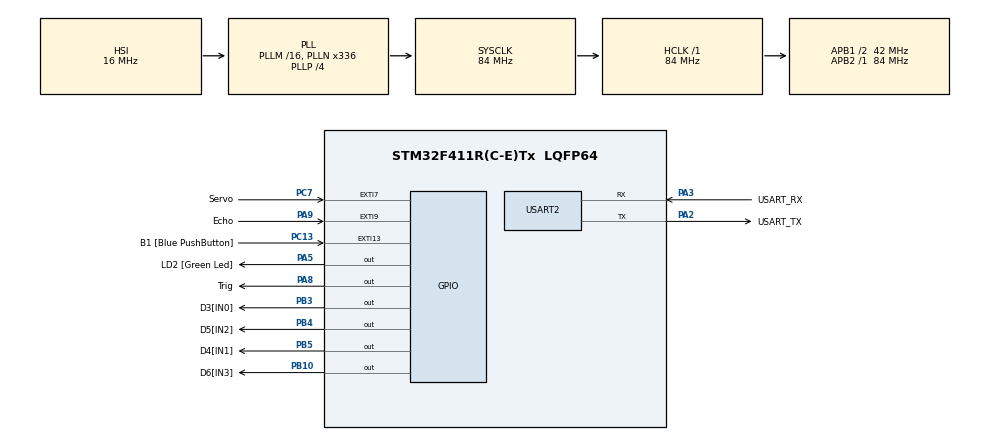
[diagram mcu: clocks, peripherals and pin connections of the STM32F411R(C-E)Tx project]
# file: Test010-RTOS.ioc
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FREERTOS.BinarySemaphores01=myBinarySem01,Dynamic,NULL
FREERTOS.Tasks01=myTask01,0,128,myStartTask01,Default,NULL,Dynamic,NULL,NULL;myTask02,-1,128,myStartTask02,Default,NULL,Dynamic,NULL,NULL;myTask03,-2,128,StartTask03,Default,NULL,Dynamic,NULL,NULL;myTask04,-3,128,StartTask04,Default,NULL,Dynamic,NULL,NULL
FREERTOS.configUSE_NEWLIB_REENTRANT=1
Mcu.Family=STM32F4
Mcu.Name=STM32F411R(C-E)Tx
Mcu.Package=LQFP64
NVIC.EXTI15_10_IRQn=true\:5\:0\:false\:false\:true\:true\:true\:true\:true
NVIC.EXTI9_5_IRQn=true\:5\:0\:false\:false\:true\:true\:true\:true\:true
NVIC.PriorityGroup=NVIC_PRIORITYGROUP_4
NVIC.TIM1_UP_TIM10_IRQn=true\:5\:0\:false\:false\:true\:true\:false\:true\:true
NVIC.TimeBase=TIM1_UP_TIM10_IRQn
NVIC.TimeBaseIP=TIM10
PA13.GPIO_Label=TMS
PA13.Mode=Serial_Wire
PA13.Signal=SYS_JTMS-SWDIO
PA14.GPIO_Label=TCK
PA14.Mode=Serial_Wire
PA14.Signal=SYS_JTCK-SWCLK
PA2.GPIO_Label=USART_TX
PA2.Mode=Asynchronous
PA2.Signal=USART2_TX
PA3.GPIO_Label=USART_RX
PA3.Mode=Asynchronous
PA3.Signal=USART2_RX
PA5.GPIO_Label=LD2 [Green Led]
PA5.Signal=GPIO_Output
PA8.GPIO_Label=Trig
PA8.Signal=GPIO_Output
PA9.GPIO_Label=Echo
PA9.GPIO_ModeDefaultEXTI=GPIO_MODE_IT_RISING_FALLING
PA9.Signal=GPXTI9
PB10.GPIO_Label=D6[IN3]
PB10.Signal=GPIO_Output
PB3.GPIO_Label=D3[IN0]
PB3.Signal=GPIO_Output
PB4.GPIO_Label=D5[IN2]
PB4.Signal=GPIO_Output
PB5.GPIO_Label=D4[IN1]
PB5.Signal=GPIO_Output
PC13-ANTI_TAMP.GPIO_Label=B1 [Blue PushButton]
PC13-ANTI_TAMP.GPIO_ModeDefaultEXTI=GPIO_MODE_IT_FALLING
PC13-ANTI_TAMP.Signal=GPXTI13
PC14-OSC32_IN.Mode=LSE-External-Oscillator
PC14-OSC32_IN.Signal=RCC_OSC32_IN
PC15-OSC32_OUT.Mode=LSE-External-Oscillator
PC15-OSC32_OUT.Signal=RCC_OSC32_OUT
PC7.GPIO_Label=Servo
PC7.Signal=GPXTI7
PH0\ -\ OSC_IN.Mode=HSE-External-Clock-Source
PH0\ -\ OSC_IN.Signal=RCC_OSC_IN
PH1\ -\ OSC_OUT.Mode=HSE-External-Clock-Source
PH1\ -\ OSC_OUT.Signal=RCC_OSC_OUT
ProjectManager.HeapSize=0x200
ProjectManager.StackSize=0x400
ProjectManager.TargetToolchain=STM32CubeIDE
RCC.48MHZClocksFreq_Value=84000000
RCC.AHBFreq_Value=84000000
RCC.APB1CLKDivider=RCC_HCLK_DIV2
RCC.APB1Freq_Value=42000000
RCC.APB1TimFreq_Value=84000000
RCC.APB2Freq_Value=84000000
RCC.APB2TimFreq_Value=84000000
RCC.CortexFreq_Value=84000000
RCC.FLatency-AdvancedSettings=FLASH_LATENCY_2
RCC.HCLKFreq_Value=84000000
RCC.HSE_VALUE=8000000
RCC.HSI_VALUE=16000000
RCC.PLLN=336
RCC.PLLP=RCC_PLLP_DIV4
RCC.SYSCLKFreq_VALUE=84000000
RCC.SYSCLKSource=RCC_SYSCLKSOURCE_PLLCLK
RCC.VCOOutputFreq_Value=336000000
TIM1.Period=60000-1
TIM1.Prescaler=84-1
TIM2.Prescaler=84-1
USART2.VirtualMode=VM_ASYNC
VP_FREERTOS_VS_CMSIS_V1.Mode=CMSIS_V1
VP_SYS_VS_tim10.Mode=TIM10
VP_TIM1_VS_ClockSourceINT.Mode=Internal
VP_TIM2_VS_ClockSourceINT.Mode=Internal
board=NUCLEO-F411RE

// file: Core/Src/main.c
/* USER CODE BEGIN Header */
/**
  ******************************************************************************
  * @file           : main.c
  * @brief          : Main program body
  ******************************************************************************
  * @attention
  *
  * Copyright (c) 2025 STMicroelectronics.
  * All rights reserved.
  *
  * This software is licensed under terms that can be found in the LICENSE file
  * in the root directory of this software component.
  * If no LICENSE file comes with this software, it is provided AS-IS.
  *
  ******************************************************************************
  */
/* USER CODE END Header */
#include "main.h"
#include "cmsis_os.h"

TIM_HandleTypeDef htim1;
TIM_HandleTypeDef htim2;

UART_HandleTypeDef huart2;

osThreadId myTask01Handle;
osThreadId myTask02Handle;
osThreadId myTask03Handle;
osThreadId myTask04Handle;
osSemaphoreId myBinarySem01Handle;

void SystemClock_Config(void);
static void MX_GPIO_Init(void);
static void MX_USART2_UART_Init(void);
static void MX_TIM1_Init(void);
static void MX_TIM2_Init(void);
void myStartTask01(void const * argument);
void myStartTask02(void const * argument);
void StartTask03(void const * argument);
void StartTask04(void const * argument);

/* USER CODE BEGIN 0 */

int bn =0 ; mode =0;//mode : 1 button pressed 0 release
void LD2Test()
{
	HAL_GPIO_TogglePin(LD2_GPIO_Port, LD2_Pin);
}

int t1 = 0, t2 = 0;
volatile double dist = 0;
void HAL_GPIO_EXTI_Callback(uint16_t GPIO_Pin)
{
   if(GPIO_Pin == Echo_Pin)
   {
      if(HAL_GPIO_ReadPin(Echo_GPIO_Port, Echo_Pin) == 1) // rising
      {
         t1 = htim2.Instance->CNT;
      }
      else // falling
      {
         t2 = htim2.Instance->CNT;
         dist = (t2 - t1) * 0.17;
      }
   }
   osSemaphoreRelease(myBinarySem01Handle);
}

void step_half(int step)
{
		switch(step)
		{
		case 1:

			//step 1
			HAL_GPIO_WritePin(D3_GPIO_Port, D3_Pin, 1);
			HAL_GPIO_WritePin(D4_GPIO_Port, D4_Pin, 0);
			HAL_GPIO_WritePin(D5_GPIO_Port, D5_Pin, 0);
			HAL_GPIO_WritePin(D6_GPIO_Port, D6_Pin, 0);
			break;//instead delay

		case 2:
			//step 2
			HAL_GPIO_WritePin(D3_GPIO_Port, D3_Pin, 1);
			HAL_GPIO_WritePin(D4_GPIO_Port, D4_Pin, 1);
			HAL_GPIO_WritePin(D5_GPIO_Port, D5_Pin, 0);
			HAL_GPIO_WritePin(D6_GPIO_Port, D6_Pin, 0);
			break;//instead delay

		case 3:
			//step 3
			HAL_GPIO_WritePin(D3_GPIO_Port, D3_Pin, 0);
			HAL_GPIO_WritePin(D4_GPIO_Port, D4_Pin, 1);
			HAL_GPIO_WritePin(D5_GPIO_Port, D5_Pin, 0);
			HAL_GPIO_WritePin(D6_GPIO_Port, D6_Pin, 0);
			break;//instead delay

		case 4:
			//step 4
			HAL_GPIO_WritePin(D3_GPIO_Port, D3_Pin, 0);
			HAL_GPIO_WritePin(D4_GPIO_Port, D4_Pin, 1);
			HAL_GPIO_WritePin(D5_GPIO_Port, D5_Pin, 1);
			HAL_GPIO_WritePin(D6_GPIO_Port, D6_Pin, 0);
			break;//instead delay

		case 5:
			//step 5
			HAL_GPIO_WritePin(D3_GPIO_Port, D3_Pin, 0);
			HAL_GPIO_WritePin(D4_GPIO_Port, D4_Pin, 0);
			HAL_GPIO_WritePin(D5_GPIO_Port, D5_Pin, 1);
			HAL_GPIO_WritePin(D6_GPIO_Port, D6_Pin, 0);
			break;//instead delay

		case 6:
			//step 6
			HAL_GPIO_WritePin(D3_GPIO_Port, D3_Pin, 0);
			HAL_GPIO_WritePin(D4_GPIO_Port, D4_Pin, 0);
			HAL_GPIO_WritePin(D5_GPIO_Port, D5_Pin, 1);
			HAL_GPIO_WritePin(D6_GPIO_Port, D6_Pin, 1);
			break;//instead delay
		case 7:
			//step 7
			HAL_GPIO_WritePin(D3_GPIO_Port, D3_Pin, 0);
			HAL_GPIO_WritePin(D4_GPIO_Port, D4_Pin, 0);
			HAL_GPIO_WritePin(D5_GPIO_Port, D5_Pin, 0);
			HAL_GPIO_WritePin(D6_GPIO_Port, D6_Pin, 1);
			break;//instead delay
		case 8:
			//step 8
			HAL_GPIO_WritePin(D3_GPIO_Port, D3_Pin, 1);
			HAL_GPIO_WritePin(D4_GPIO_Port, D4_Pin, 0);
			HAL_GPIO_WritePin(D5_GPIO_Port, D5_Pin, 0);
			HAL_GPIO_WritePin(D6_GPIO_Port, D6_Pin, 1);
			break;//instead delay

		}
}

void step_full(int step)
{
		switch(step)
		{
		case 1:

			//step 1
			HAL_GPIO_WritePin(D3_GPIO_Port, D3_Pin, 1);
			HAL_GPIO_WritePin(D4_GPIO_Port, D4_Pin, 1);
			HAL_GPIO_WritePin(D5_GPIO_Port, D5_Pin, 0);
			HAL_GPIO_WritePin(D6_GPIO_Port, D6_Pin, 0);
			break;//instead delay

		case 2:
			//step 2
			HAL_GPIO_WritePin(D3_GPIO_Port, D3_Pin, 0);
			HAL_GPIO_WritePin(D4_GPIO_Port, D4_Pin, 1);
			HAL_GPIO_WritePin(D5_GPIO_Port, D5_Pin, 1);
			HAL_GPIO_WritePin(D6_GPIO_Port, D6_Pin, 0);
			break;//instead delay

		case 3:
			//step 3
			HAL_GPIO_WritePin(D3_GPIO_Port, D3_Pin, 0);
			HAL_GPIO_WritePin(D4_GPIO_Port, D4_Pin, 0);
			HAL_GPIO_WritePin(D5_GPIO_Port, D5_Pin, 1);
			HAL_GPIO_WritePin(D6_GPIO_Port, D6_Pin, 1);
			break;//instead delay

		case 4:
			//step 4
			HAL_GPIO_WritePin(D3_GPIO_Port, D3_Pin, 1);
			HAL_GPIO_WritePin(D4_GPIO_Port, D4_Pin, 0);
			HAL_GPIO_WritePin(D5_GPIO_Port, D5_Pin, 0);
			HAL_GPIO_WritePin(D6_GPIO_Port, D6_Pin, 1);
			break;//instead delay
		}
}

void step_wave(int step)
{
		switch(step)
		{
		case 1:

			//step 1
			HAL_GPIO_WritePin(D3_GPIO_Port, D3_Pin, 1);
			HAL_GPIO_WritePin(D4_GPIO_Port, D4_Pin, 0);
			HAL_GPIO_WritePin(D5_GPIO_Port, D5_Pin, 0);
			HAL_GPIO_WritePin(D6_GPIO_Port, D6_Pin, 0);
			break;//instead delay

		case 2:
			//step 2
			HAL_GPIO_WritePin(D3_GPIO_Port, D3_Pin, 0);
			HAL_GPIO_WritePin(D4_GPIO_Port, D4_Pin, 1);
			HAL_GPIO_WritePin(D5_GPIO_Port, D5_Pin, 0);
			HAL_GPIO_WritePin(D6_GPIO_Port, D6_Pin, 0);
			break;//instead delay

		case 3:
			//step 3
			HAL_GPIO_WritePin(D3_GPIO_Port, D3_Pin, 0);
			HAL_GPIO_WritePin(D4_GPIO_Port, D4_Pin, 0);
			HAL_GPIO_WritePin(D5_GPIO_Port, D5_Pin, 1);
			HAL_GPIO_WritePin(D6_GPIO_Port, D6_Pin, 0);
			break;//instead delay

		case 4:
			//step 4
			HAL_GPIO_WritePin(D3_GPIO_Port, D3_Pin, 0);
			HAL_GPIO_WritePin(D4_GPIO_Port, D4_Pin, 0);
			HAL_GPIO_WritePin(D5_GPIO_Port, D5_Pin, 0);
			HAL_GPIO_WritePin(D6_GPIO_Port, D6_Pin, 1);
			break;//instead delay
		}
}
/* USER CODE END 0 */

int main(void)
{

  /* MCU Configuration--------------------------------------------------------*/

  /* Reset of all peripherals, Initializes the Flash interface and the Systick. */
  HAL_Init();

  /* Configure the system clock */
  SystemClock_Config();

  /* Initialize all configured peripherals */
  MX_GPIO_Init();
  MX_USART2_UART_Init();
  MX_TIM1_Init();
  MX_TIM2_Init();
  /* USER CODE BEGIN 2 */
  HAL_TIM_Base_Start(&htim2);

  /* USER CODE END 2 */

  /* Create the semaphores(s) */
  /* definition and creation of myBinarySem01 */
  osSemaphoreDef(myBinarySem01);
  myBinarySem01Handle = osSemaphoreCreate(osSemaphore(myBinarySem01), 1);

  /* Create the thread(s) */
  /* definition and creation of myTask01 */
  osThreadDef(myTask01, myStartTask01, osPriorityNormal, 0, 128);
  myTask01Handle = osThreadCreate(osThread(myTask01), NULL);

  /* definition and creation of myTask02 */
  osThreadDef(myTask02, myStartTask02, osPriorityBelowNormal, 0, 128);
  myTask02Handle = osThreadCreate(osThread(myTask02), NULL);

  /* definition and creation of myTask03 */
  osThreadDef(myTask03, StartTask03, osPriorityLow, 0, 128);
  myTask03Handle = osThreadCreate(osThread(myTask03), NULL);

  /* definition and creation of myTask04 */
  osThreadDef(myTask04, StartTask04, osPriorityIdle, 0, 128);
  myTask04Handle = osThreadCreate(osThread(myTask04), NULL);

  /* USER CODE BEGIN RTOS_THREADS */
  /* add threads, ... */
  ProgramStart("RTOS-Start");
  osSemaphoreRelease(myBinarySem01Handle);
  /* USER CODE END RTOS_THREADS */

  /* Start scheduler */
  osKernelStart();

  /* We should never get here as control is now taken by the scheduler */
  /* Infinite loop */
  /* USER CODE BEGIN WHILE */
  while (1)
  {
	  LD2Test();
	  //osDelay(500);
	  //HAL_Delay(500);
    /* USER CODE END WHILE */

  }
}

void SystemClock_Config(void)
{
  RCC_OscInitTypeDef RCC_OscInitStruct = {0};
  RCC_ClkInitTypeDef RCC_ClkInitStruct = {0};

  /** Configure the main internal regulator output voltage
  */
  __HAL_RCC_PWR_CLK_ENABLE();
  __HAL_PWR_VOLTAGESCALING_CONFIG(PWR_REGULATOR_VOLTAGE_SCALE1);

  /** Initializes the RCC Oscillators according to the specified parameters
  * in the RCC_OscInitTypeDef structure.
  */
  RCC_OscInitStruct.OscillatorType = RCC_OSCILLATORTYPE_HSI;
  RCC_OscInitStruct.HSIState = RCC_HSI_ON;
  RCC_OscInitStruct.HSICalibrationValue = RCC_HSICALIBRATION_DEFAULT;
  RCC_OscInitStruct.PLL.PLLState = RCC_PLL_ON;
  RCC_OscInitStruct.PLL.PLLSource = RCC_PLLSOURCE_HSI;
  RCC_OscInitStruct.PLL.PLLM = 16;
  RCC_OscInitStruct.PLL.PLLN = 336;
  RCC_OscInitStruct.PLL.PLLP = RCC_PLLP_DIV4;
  RCC_OscInitStruct.PLL.PLLQ = 4;
  if (HAL_RCC_OscConfig(&RCC_OscInitStruct) != HAL_OK)
  {
    Error_Handler();
  }

  /** Initializes the CPU, AHB and APB buses clocks
  */
  RCC_ClkInitStruct.ClockType = RCC_CLOCKTYPE_HCLK|RCC_CLOCKTYPE_SYSCLK
                              |RCC_CLOCKTYPE_PCLK1|RCC_CLOCKTYPE_PCLK2;
  RCC_ClkInitStruct.SYSCLKSource = RCC_SYSCLKSOURCE_PLLCLK;
  RCC_ClkInitStruct.AHBCLKDivider = RCC_SYSCLK_DIV1;
  RCC_ClkInitStruct.APB1CLKDivider = RCC_HCLK_DIV2;
  RCC_ClkInitStruct.APB2CLKDivider = RCC_HCLK_DIV1;

  if (HAL_RCC_ClockConfig(&RCC_ClkInitStruct, FLASH_LATENCY_2) != HAL_OK)
  {
    Error_Handler();
  }
}

static void MX_TIM1_Init(void)
{

  TIM_ClockConfigTypeDef sClockSourceConfig = {0};
  TIM_MasterConfigTypeDef sMasterConfig = {0};

  htim1.Instance = TIM1;
  htim1.Init.Prescaler = 84-1;
  htim1.Init.CounterMode = TIM_COUNTERMODE_UP;
  htim1.Init.Period = 60000-1;
  htim1.Init.ClockDivision = TIM_CLOCKDIVISION_DIV1;
  htim1.Init.RepetitionCounter = 0;
  htim1.Init.AutoReloadPreload = TIM_AUTORELOAD_PRELOAD_DISABLE;
  if (HAL_TIM_Base_Init(&htim1) != HAL_OK)
  {
    Error_Handler();
  }
  sClockSourceConfig.ClockSource = TIM_CLOCKSOURCE_INTERNAL;
  if (HAL_TIM_ConfigClockSource(&htim1, &sClockSourceConfig) != HAL_OK)
  {
    Error_Handler();
  }
  sMasterConfig.MasterOutputTrigger = TIM_TRGO_RESET;
  sMasterConfig.MasterSlaveMode = TIM_MASTERSLAVEMODE_DISABLE;
  if (HAL_TIMEx_MasterConfigSynchronization(&htim1, &sMasterConfig) != HAL_OK)
  {
    Error_Handler();
  }

}

static void MX_TIM2_Init(void)
{

  TIM_ClockConfigTypeDef sClockSourceConfig = {0};
  TIM_MasterConfigTypeDef sMasterConfig = {0};

  htim2.Instance = TIM2;
  htim2.Init.Prescaler = 84-1;
  htim2.Init.CounterMode = TIM_COUNTERMODE_UP;
  htim2.Init.Period = 4294967295;
  htim2.Init.ClockDivision = TIM_CLOCKDIVISION_DIV1;
  htim2.Init.AutoReloadPreload = TIM_AUTORELOAD_PRELOAD_DISABLE;
  if (HAL_TIM_Base_Init(&htim2) != HAL_OK)
  {
    Error_Handler();
  }
  sClockSourceConfig.ClockSource = TIM_CLOCKSOURCE_INTERNAL;
  if (HAL_TIM_ConfigClockSource(&htim2, &sClockSourceConfig) != HAL_OK)
  {
    Error_Handler();
  }
  sMasterConfig.MasterOutputTrigger = TIM_TRGO_RESET;
  sMasterConfig.MasterSlaveMode = TIM_MASTERSLAVEMODE_DISABLE;
  if (HAL_TIMEx_MasterConfigSynchronization(&htim2, &sMasterConfig) != HAL_OK)
  {
    Error_Handler();
  }

}

static void MX_USART2_UART_Init(void)
{

  huart2.Instance = USART2;
  huart2.Init.BaudRate = 115200;
  huart2.Init.WordLength = UART_WORDLENGTH_8B;
  huart2.Init.StopBits = UART_STOPBITS_1;
  huart2.Init.Parity = UART_PARITY_NONE;
  huart2.Init.Mode = UART_MODE_TX_RX;
  huart2.Init.HwFlowCtl = UART_HWCONTROL_NONE;
  huart2.Init.OverSampling = UART_OVERSAMPLING_16;
  if (HAL_UART_Init(&huart2) != HAL_OK)
  {
    Error_Handler();
  }

}

static void MX_GPIO_Init(void)
{
  GPIO_InitTypeDef GPIO_InitStruct = {0};

  /* GPIO Ports Clock Enable */
  __HAL_RCC_GPIOC_CLK_ENABLE();
  __HAL_RCC_GPIOH_CLK_ENABLE();
  __HAL_RCC_GPIOA_CLK_ENABLE();
  __HAL_RCC_GPIOB_CLK_ENABLE();

  /*Configure GPIO pin Output Level */
  HAL_GPIO_WritePin(GPIOA, LD2_Pin|Trig_Pin, GPIO_PIN_RESET);

  /*Configure GPIO pin Output Level */
  HAL_GPIO_WritePin(GPIOB, D6_Pin|D3_Pin|D5_Pin|D4_Pin, GPIO_PIN_RESET);

  /*Configure GPIO pin : B1_Pin */
  GPIO_InitStruct.Pin = B1_Pin;
  GPIO_InitStruct.Mode = GPIO_MODE_IT_FALLING;
  GPIO_InitStruct.Pull = GPIO_NOPULL;
  HAL_GPIO_Init(B1_GPIO_Port, &GPIO_InitStruct);

  /*Configure GPIO pins : LD2_Pin Trig_Pin */
  GPIO_InitStruct.Pin = LD2_Pin|Trig_Pin;
  GPIO_InitStruct.Mode = GPIO_MODE_OUTPUT_PP;
  GPIO_InitStruct.Pull = GPIO_NOPULL;
  GPIO_InitStruct.Speed = GPIO_SPEED_FREQ_LOW;
  HAL_GPIO_Init(GPIOA, &GPIO_InitStruct);

  /*Configure GPIO pins : D6_Pin D3_Pin D5_Pin D4_Pin */
  GPIO_InitStruct.Pin = D6_Pin|D3_Pin|D5_Pin|D4_Pin;
  GPIO_InitStruct.Mode = GPIO_MODE_OUTPUT_PP;
  GPIO_InitStruct.Pull = GPIO_NOPULL;
  GPIO_InitStruct.Speed = GPIO_SPEED_FREQ_LOW;
  HAL_GPIO_Init(GPIOB, &GPIO_InitStruct);

  /*Configure GPIO pin : Servo_Pin */
  GPIO_InitStruct.Pin = Servo_Pin;
  GPIO_InitStruct.Mode = GPIO_MODE_IT_RISING;
  GPIO_InitStruct.Pull = GPIO_NOPULL;
  HAL_GPIO_Init(Servo_GPIO_Port, &GPIO_InitStruct);

  /*Configure GPIO pin : Echo_Pin */
  GPIO_InitStruct.Pin = Echo_Pin;
  GPIO_InitStruct.Mode = GPIO_MODE_IT_RISING_FALLING;
  GPIO_InitStruct.Pull = GPIO_NOPULL;
  HAL_GPIO_Init(Echo_GPIO_Port, &GPIO_InitStruct);

  /* EXTI interrupt init*/
  HAL_NVIC_SetPriority(EXTI9_5_IRQn, 5, 0);
  HAL_NVIC_EnableIRQ(EXTI9_5_IRQn);

  HAL_NVIC_SetPriority(EXTI15_10_IRQn, 5, 0);
  HAL_NVIC_EnableIRQ(EXTI15_10_IRQn);

}

/* USER CODE BEGIN 4 */
int n1=0,n2=0;
/* USER CODE END 4 */

void myStartTask01(void const * argument)
{
  /* USER CODE BEGIN 5 */

  /* Infinite loop */

  for(;;)
  {

	if(osSemaphoreWait(myBinarySem01Handle, 0) == osOK)
	{
		Trigger();
		printf("Task 01 (Normal) ------\r\n"); HAL_Delay(10);
		osSemaphoreRelease(myBinarySem01Handle);
	}
    osDelay(1); //Task transformation
  }
  /* USER CODE END 5 */
}

void myStartTask02(void const * argument)
{
  /* USER CODE BEGIN myStartTask02 */
  /* Infinite loop */
  int n=0;
  for(;;)
  {

	  if(osSemaphoreWait(myBinarySem01Handle, 0) == osOK)
	  {
		if(dist>500)
		{
			for(int i=0; i<512; i++)
			{
				step_half((i%8)+1); HAL_Delay(1);
			}
		}
		else if(1000>dist>500)
		{
			for(int i=0; i<128; i++)
			{
				step_half((i%8)+1); HAL_Delay(1);
			}
		}

	  	printf("Task 02 (BelowNormal) ------\r\n"); HAL_Delay(10);
		osSemaphoreRelease(myBinarySem01Handle);

	  }
//	  printf("Input Degree : ");
//	  scanf("%d", &d);//infinite loop
//	  int w = 2048 *d / 360;
//	  int step = 4096 * d / 360;
//	  printf("Wave(Full) : %d steps, Half : %d steps", step/2,step);
	  osDelay(1);
  }
  /* USER CODE END myStartTask02 */
}

void StartTask03(void const * argument)
{
  /* USER CODE BEGIN StartTask03 */
  /* Infinite loop */
  for(;;)
  {
	if(osSemaphoreWait(myBinarySem01Handle, 0) == osOK)
	{
		HAL_GPIO_WritePin(LD2_GPIO_Port,LD2_Pin,1);
		HAL_Delay(100);
		HAL_GPIO_WritePin(LD2_GPIO_Port,LD2_Pin,0);
		HAL_Delay(100);
		HAL_GPIO_WritePin(LD2_GPIO_Port,LD2_Pin,1);
	  	printf("Task 03 (Idle) ------\r\n"); HAL_Delay(10);
		osSemaphoreRelease(myBinarySem01Handle);

	}
	osDelay(1);
  }
  /* USER CODE END StartTask03 */
}

void StartTask04(void const * argument)
{
  /* USER CODE BEGIN StartTask04 */
  /* Infinite loop */
  for(;;)
  {
	if(osSemaphoreWait(myBinarySem01Handle, 0) == osOK)
	{
		int iDist = (dist / 10); // mm => cm
		printf("Distance = %d cm\r\n", iDist);
	  	printf("Task 04 (Idle) ------\r\n"); HAL_Delay(10);
	  	//osSemaphoreRelease(myBinarySem01Handle);
	}
    osDelay(1);
  }
  /* USER CODE END StartTask04 */
}

void HAL_TIM_PeriodElapsedCallback(TIM_HandleTypeDef *htim)
{
  if (htim->Instance == TIM10) {
    HAL_IncTick();
  }
}

void Error_Handler(void)
{
  __disable_irq();
  while (1)
  {
  }
}
